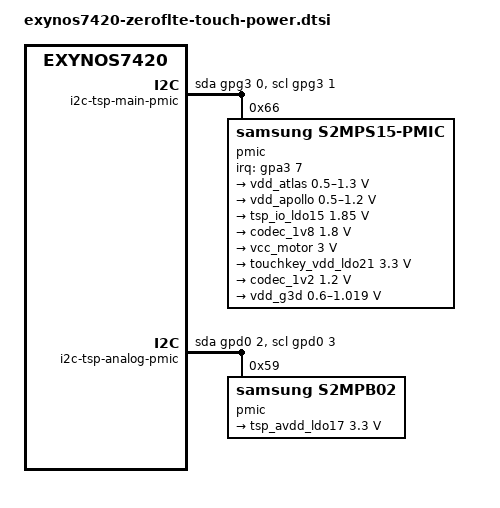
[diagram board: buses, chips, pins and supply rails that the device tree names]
// SPDX-License-Identifier: GPL-2.0
/*
 * Samsung Galaxy S6 (SM-G920F) touchscreen supplies
 *
 * The STM FTS touchscreen takes its I/O rail from S2MPS15 LDO15 and its
 * analog rail from S2MPB02 LDO17. Neither PMIC bus has a controller node
 * here, so both are bit-banged on their stock pins.
 */

/ {
	i2c-tsp-main-pmic {
		compatible = "i2c-gpio";
		sda-gpios = <&gpg3 0 (GPIO_ACTIVE_HIGH | GPIO_OPEN_DRAIN)>;
		scl-gpios = <&gpg3 1 (GPIO_ACTIVE_HIGH | GPIO_OPEN_DRAIN)>;
		i2c-gpio,delay-us = <2>;
		#address-cells = <1>;
		#size-cells = <0>;

		pmic@66 {
			compatible = "samsung,s2mps15-pmic";
			reg = <0x66>;
			/*
			 * The PMIC interrupt (active low, gpa3-7) carries the
			 * RTC alarm, so it is also the wakeup that ends a
			 * suspend for Android's alarms.
			 */
			interrupt-parent = <&gpa3>;
			interrupts = <7 IRQ_TYPE_LEVEL_LOW>;
			pinctrl-names = "default";
			pinctrl-0 = <&pmic_irq>;
			wakeup-source;

			regulators {
				/*
				 * CPU cluster rails, scaled by cpufreq-dt. The
				 * limits are the stock board's.
				 */
				vdd_atlas: BUCK2 {
					regulator-name = "vdd_atlas";
					regulator-min-microvolt = <500000>;
					regulator-max-microvolt = <1300000>;
					regulator-always-on;
					regulator-boot-on;
				};

				vdd_apollo: BUCK3 {
					regulator-name = "vdd_apollo";
					regulator-min-microvolt = <500000>;
					regulator-max-microvolt = <1200000>;
					regulator-always-on;
					regulator-boot-on;
				};

				tsp_io_ldo15: LDO15 {
					regulator-name = "tsp_io";
					regulator-min-microvolt = <1850000>;
					regulator-max-microvolt = <1850000>;
					regulator-always-on;
					regulator-boot-on;
				};

				/* WM1840 AVDD, DBVDD1-4, CPVDD1, SPKVDDL/R. */
				codec_1v8: LDO16 {
					regulator-name = "vcc_1.8v_codec";
					regulator-min-microvolt = <1800000>;
					regulator-max-microvolt = <1800000>;
				};

				/* Haptic motor supply (3.10 VCC_MOTOR_3.0) */
				vcc_motor: LDO17 {
					regulator-name = "vcc_motor_3.0v";
					regulator-min-microvolt = <3000000>;
					regulator-max-microvolt = <3000000>;
				};

				/* Touch key core supply; the 3.10 driver enables it at probe. */
				touchkey_vdd_ldo21: LDO21 {
					regulator-name = "vtouch_3.3v";
					regulator-min-microvolt = <3300000>;
					regulator-max-microvolt = <3300000>;
				};

				/*
				 * WM1840 DCVDD and CPVDD2. REG_ID != 0 parts keep
				 * L26CTRL at 0x4c; s2mps11 handles that swap.
				 */
				codec_1v2: LDO26 {
					regulator-name = "vdd_1.2v_codec";
					regulator-min-microvolt = <1200000>;
					regulator-max-microvolt = <1200000>;
				};

				/*
				 * GPU supply (3.10 vdd_g3d). 3.10 hands BUCK6 enable
				 * to the G3D power GPIO (gpb0-4) and clears the
				 * B6CTRL1 enable bits, so it reads "disabled" here
				 * while the GPU runs. always-on sets those bits and
				 * keeps the rail up; pd_g3d never powers off anyway.
				 * The limits are 3.10's (G3D_MAX_VOLT 1018750). The
				 * ramp is the slowest BUCK_RAMP1 setting, 6 mV/us,
				 * because nothing here programs that register.
				 */
				vdd_g3d: BUCK6 {
					regulator-name = "vdd_g3d";
					regulator-min-microvolt = <600000>;
					regulator-max-microvolt = <1018750>;
					regulator-ramp-delay = <6000>;
					regulator-always-on;
					regulator-boot-on;
				};
			};
		};
	};

	/*
	 * S2MPB02: on 3.10 it sits on hsi2c@14E60000, whose pins are
	 * gpd0-2 (SDA) and gpd0-3 (SCL). On gpg3-2/3 it never answered
	 * (chip-ID read -ENXIO), so the touchscreen had no AVDD.
	 */
	i2c-tsp-analog-pmic {
		compatible = "i2c-gpio";
		sda-gpios = <&gpd0 2 (GPIO_ACTIVE_HIGH | GPIO_OPEN_DRAIN)>;
		scl-gpios = <&gpd0 3 (GPIO_ACTIVE_HIGH | GPIO_OPEN_DRAIN)>;
		i2c-gpio,delay-us = <2>;
		#address-cells = <1>;
		#size-cells = <0>;

		pmic@59 {
			compatible = "samsung,s2mpb02";
			reg = <0x59>;

			regulators {
				tsp_avdd_ldo17: ldo17 {
					regulator-name = "tsp_avdd";
					regulator-min-microvolt = <3300000>;
					regulator-max-microvolt = <3300000>;
					regulator-always-on;
				};
			};
		};
	};
};
